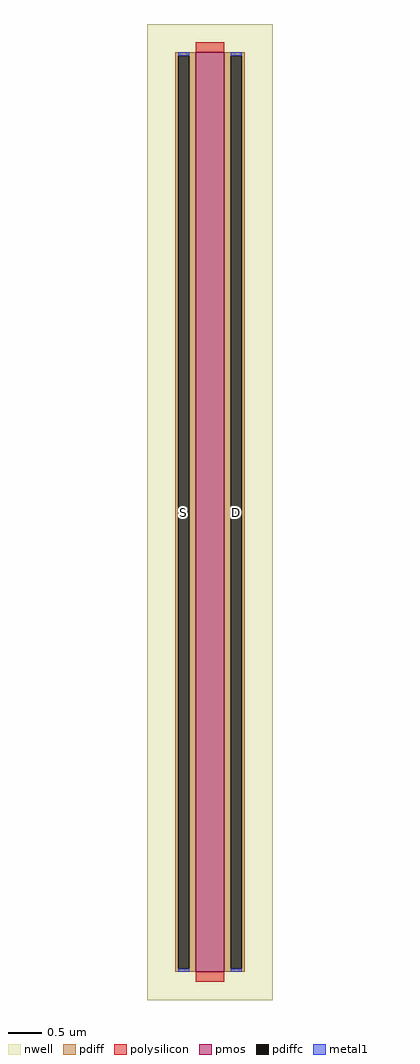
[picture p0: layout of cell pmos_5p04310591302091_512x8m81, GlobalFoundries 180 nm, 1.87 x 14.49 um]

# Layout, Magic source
magic
tech gf180mcuD
magscale 1 10
<< nwell >>
rect -145 -84 229 2814
<< pmos >>
rect 0 0 84 2730
<< pdiff >>
rect -61 2720 0 2730
rect -61 9 -52 2720
rect -20 9 0 2720
rect -61 0 0 9
rect 84 2720 145 2730
rect 84 9 104 2720
rect 136 9 145 2720
rect 84 0 145 9
<< pdiffc >>
rect -52 9 -20 2720
rect 104 9 136 2720
<< polysilicon >>
rect 0 2730 84 2760
rect 0 -30 84 0
<< metal1 >>
rect -52 2720 -20 2730
rect -52 0 -20 9
rect 104 2720 136 2730
rect 104 0 136 9
<< labels >>
flabel pdiffc -36 1365 -36 1365 0 FreeSans 280 0 0 0 S
flabel pdiffc 120 1365 120 1365 0 FreeSans 280 0 0 0 D
<< end >>
